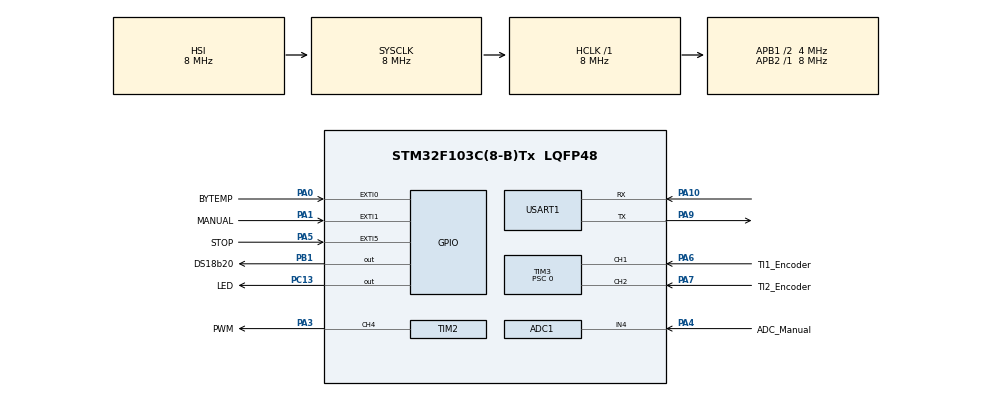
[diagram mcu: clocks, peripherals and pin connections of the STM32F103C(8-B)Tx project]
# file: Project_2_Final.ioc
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ADC1.Channel-0\#ChannelRegularConversion=ADC_CHANNEL_4
ADC1.ContinuousConvMode=ENABLE
ADC1.NbrOfConversionFlag=1
ADC1.Rank-0\#ChannelRegularConversion=1
ADC1.SamplingTime-0\#ChannelRegularConversion=ADC_SAMPLETIME_1CYCLE_5
ADC1.master=1
Mcu.Family=STM32F1
Mcu.Name=STM32F103C(8-B)Tx
Mcu.Package=LQFP48
NVIC.EXTI0_IRQn=true\:0\:0\:false\:false\:true\:true\:true\:true
NVIC.EXTI1_IRQn=true\:0\:0\:false\:false\:true\:true\:true\:true
NVIC.EXTI9_5_IRQn=true\:0\:0\:false\:false\:true\:true\:true\:true
NVIC.PriorityGroup=NVIC_PRIORITYGROUP_4
PA0-WKUP.GPIO_Label=BYTEMP
PA0-WKUP.GPIO_ModeDefaultEXTI=GPIO_MODE_IT_FALLING
PA0-WKUP.GPIO_PuPd=GPIO_PULLUP
PA0-WKUP.Signal=GPXTI0
PA1.GPIO_Label=MANUAL
PA1.GPIO_ModeDefaultEXTI=GPIO_MODE_IT_FALLING
PA1.GPIO_PuPd=GPIO_PULLUP
PA1.Signal=GPXTI1
PA10.Mode=Asynchronous
PA10.Signal=USART1_RX
PA13.Mode=Serial_Wire
PA13.Signal=SYS_JTMS-SWDIO
PA14.Mode=Serial_Wire
PA14.Signal=SYS_JTCK-SWCLK
PA3.GPIO_Label=PWM
PA3.Signal=S_TIM2_CH4
PA4.GPIO_Label=ADC_Manual
PA4.GPIO_Mode=GPIO_MODE_ANALOG
PA4.Signal=ADCx_IN4
PA5.GPIO_Label=STOP
PA5.GPIO_ModeDefaultEXTI=GPIO_MODE_IT_FALLING
PA5.GPIO_PuPd=GPIO_PULLUP
PA5.Signal=GPXTI5
PA6.GPIO_Label=TI1_Encoder
PA6.Signal=S_TIM3_CH1
PA7.GPIO_Label=TI2_Encoder
PA7.Signal=S_TIM3_CH2
PA9.Mode=Asynchronous
PA9.Signal=USART1_TX
PB1.GPIO_Label=DS18b20
PB1.Signal=GPIO_Output
PC13-TAMPER-RTC.GPIO_Label=LED
PC13-TAMPER-RTC.GPIO_ModeDefaultOutputPP=GPIO_MODE_OUTPUT_PP
PC13-TAMPER-RTC.Signal=GPIO_Output
PD0-OSC_IN.Mode=HSE-External-Oscillator
PD0-OSC_IN.Signal=RCC_OSC_IN
PD1-OSC_OUT.Mode=HSE-External-Oscillator
PD1-OSC_OUT.Signal=RCC_OSC_OUT
ProjectManager.HeapSize=0x200
ProjectManager.StackSize=0x400
ProjectManager.TargetToolchain=STM32CubeIDE
RCC.AHBFreq_Value=8000000
RCC.APB1CLKDivider=RCC_HCLK_DIV2
RCC.APB1Freq_Value=4000000
RCC.APB1TimFreq_Value=8000000
RCC.APB2Freq_Value=8000000
RCC.APB2TimFreq_Value=8000000
RCC.HCLKFreq_Value=8000000
RCC.PLLMUL=RCC_PLL_MUL9
RCC.PLLSourceVirtual=RCC_PLLSOURCE_HSE
RCC.SYSCLKFreq_VALUE=8000000
RCC.USBFreq_Value=72000000
SH.ADCx_IN4.0=ADC1_IN4,IN4
SH.S_TIM2_CH4.0=TIM2_CH4,PWM Generation4 CH4
SH.S_TIM3_CH1.0=TIM3_CH1,Encoder_Interface
SH.S_TIM3_CH2.0=TIM3_CH2,Encoder_Interface
TIM2.Channel-PWM\ Generation4\ CH4=TIM_CHANNEL_4
TIM2.Period=99
TIM2.Prescaler=9-1
TIM3.EncoderMode=TIM_ENCODERMODE_TI1
TIM3.IC1Polarity=TIM_ICPOLARITY_FALLING
TIM3.IC2Polarity=TIM_ICPOLARITY_FALLING
TIM3.Prescaler=0
TIM4.Prescaler=72-1
USART1.VirtualMode=VM_ASYNC
VP_TIM4_VS_ClockSourceINT.Mode=Internal
board=custom

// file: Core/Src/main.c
/* USER CODE BEGIN Header */
/**
  ******************************************************************************
  * @file           : main.c
  * @brief          : Main program body
  ******************************************************************************
  * @attention
  *
  * <h2><center>&copy; Copyright (c) 2022 STMicroelectronics.
  * All rights reserved.</center></h2>
  *
  * This software component is licensed by ST under BSD 3-Clause license,
  * the "License"; You may not use this file except in compliance with the
  * License. You may obtain a copy of the License at:
  *                        opensource.org/licenses/BSD-3-Clause
  *
  ******************************************************************************
  */
/* USER CODE END Header */
#include "main.h"

/* USER CODE BEGIN Includes */
#include <stdio.h>
#include "DS18B20.h"
#include "Motor.h"
#include "lcd_16x2.h"
/* USER CODE END Includes */

 ADC_HandleTypeDef hadc1;

TIM_HandleTypeDef htim2;
TIM_HandleTypeDef htim3;
TIM_HandleTypeDef htim4;

UART_HandleTypeDef huart1;

void SystemClock_Config(void);
static void MX_GPIO_Init(void);
static void MX_USART1_UART_Init(void);
static void MX_TIM2_Init(void);
static void MX_TIM3_Init(void);
static void MX_TIM4_Init(void);
static void MX_ADC1_Init(void);

/* USER CODE BEGIN 0 */

Motor_Name Motor = {
		.mode = MODE_MOTOR_NONE,
		.duty = DUTY_MIN
};
DS18B20_Name DS;
uint8_t 	temp = 0;
uint16_t 	speed = 0;
uint16_t 	manual = 0;
/* USER CODE END 0 */

int main(void)
{

  /* MCU Configuration--------------------------------------------------------*/

  /* Reset of all peripherals, Initializes the Flash interface and the Systick. */
  HAL_Init();

  /* Configure the system clock */
  SystemClock_Config();

  /* Initialize all configured peripherals */
  MX_GPIO_Init();
  MX_USART1_UART_Init();
  MX_TIM2_Init();
  MX_TIM3_Init();
  MX_TIM4_Init();
  MX_ADC1_Init();

  /* Infinite loop */
  /* USER CODE BEGIN WHILE */
  Lcd_Init();
  HAL_ADC_Start(&hadc1);
  DS18B20_Init(&DS, &htim4, DS18b20_GPIO_Port , DS18b20_Pin);
  Motor_Init_PWM(&Motor, &htim2, TIM_CHANNEL_4, 2000, Motor.duty);
  Motor_Init_Encoder(&Motor, &htim3, TIM_CHANNEL_1);
  Lcd_display_menu();

  while (1)
  {
    /* USER CODE END WHILE */

    /* USER CODE BEGIN 3 */
	  temp = (uint8_t)DS18B20_ReadTemp(&DS);
	  if(Motor.mode != MODE_MOTOR_NONE)
	  {
		  switch (Motor.mode)
		  {
			case MODE_MOTOR_TEMP:
				Motor.duty = Temp_to_Duty(temp);
				break;
			case MODE_MOTOR_MUNUAL:
				Motor.duty = Manual_to_Duty(&hadc1);
				break;
			case MODE_MOTOR_STOP:
				Motor.duty = DUTY_MIN;
			default:
				break;
		  }
		  Motor_Set_Duty(&Motor, Motor.duty);
		  HAL_Delay(200);
		  speed = Motor_Get_Speed(&Motor);
		  Lcd_display(temp, speed);

	  }

  }
  /* USER CODE END 3 */
}

void SystemClock_Config(void)
{
  RCC_OscInitTypeDef RCC_OscInitStruct = {0};
  RCC_ClkInitTypeDef RCC_ClkInitStruct = {0};
  RCC_PeriphCLKInitTypeDef PeriphClkInit = {0};

  /** Initializes the RCC Oscillators according to the specified parameters
  * in the RCC_OscInitTypeDef structure.
  */
  RCC_OscInitStruct.OscillatorType = RCC_OSCILLATORTYPE_HSI;
  RCC_OscInitStruct.HSIState = RCC_HSI_ON;
  RCC_OscInitStruct.HSICalibrationValue = RCC_HSICALIBRATION_DEFAULT;
  RCC_OscInitStruct.PLL.PLLState = RCC_PLL_NONE;
  if (HAL_RCC_OscConfig(&RCC_OscInitStruct) != HAL_OK)
  {
    Error_Handler();
  }

  /** Initializes the CPU, AHB and APB buses clocks
  */
  RCC_ClkInitStruct.ClockType = RCC_CLOCKTYPE_HCLK|RCC_CLOCKTYPE_SYSCLK
                              |RCC_CLOCKTYPE_PCLK1|RCC_CLOCKTYPE_PCLK2;
  RCC_ClkInitStruct.SYSCLKSource = RCC_SYSCLKSOURCE_HSI;
  RCC_ClkInitStruct.AHBCLKDivider = RCC_SYSCLK_DIV1;
  RCC_ClkInitStruct.APB1CLKDivider = RCC_HCLK_DIV2;
  RCC_ClkInitStruct.APB2CLKDivider = RCC_HCLK_DIV1;

  if (HAL_RCC_ClockConfig(&RCC_ClkInitStruct, FLASH_LATENCY_0) != HAL_OK)
  {
    Error_Handler();
  }
  PeriphClkInit.PeriphClockSelection = RCC_PERIPHCLK_ADC;
  PeriphClkInit.AdcClockSelection = RCC_ADCPCLK2_DIV2;
  if (HAL_RCCEx_PeriphCLKConfig(&PeriphClkInit) != HAL_OK)
  {
    Error_Handler();
  }
}

static void MX_ADC1_Init(void)
{

  ADC_ChannelConfTypeDef sConfig = {0};

  /** Common config
  */
  hadc1.Instance = ADC1;
  hadc1.Init.ScanConvMode = ADC_SCAN_DISABLE;
  hadc1.Init.ContinuousConvMode = ENABLE;
  hadc1.Init.DiscontinuousConvMode = DISABLE;
  hadc1.Init.ExternalTrigConv = ADC_SOFTWARE_START;
  hadc1.Init.DataAlign = ADC_DATAALIGN_RIGHT;
  hadc1.Init.NbrOfConversion = 1;
  if (HAL_ADC_Init(&hadc1) != HAL_OK)
  {
    Error_Handler();
  }

  /** Configure Regular Channel
  */
  sConfig.Channel = ADC_CHANNEL_4;
  sConfig.Rank = ADC_REGULAR_RANK_1;
  sConfig.SamplingTime = ADC_SAMPLETIME_1CYCLE_5;
  if (HAL_ADC_ConfigChannel(&hadc1, &sConfig) != HAL_OK)
  {
    Error_Handler();
  }

}

static void MX_TIM2_Init(void)
{

  TIM_MasterConfigTypeDef sMasterConfig = {0};
  TIM_OC_InitTypeDef sConfigOC = {0};

  htim2.Instance = TIM2;
  htim2.Init.Prescaler = 9-1;
  htim2.Init.CounterMode = TIM_COUNTERMODE_UP;
  htim2.Init.Period = 99;
  htim2.Init.ClockDivision = TIM_CLOCKDIVISION_DIV1;
  htim2.Init.AutoReloadPreload = TIM_AUTORELOAD_PRELOAD_DISABLE;
  if (HAL_TIM_PWM_Init(&htim2) != HAL_OK)
  {
    Error_Handler();
  }
  sMasterConfig.MasterOutputTrigger = TIM_TRGO_RESET;
  sMasterConfig.MasterSlaveMode = TIM_MASTERSLAVEMODE_DISABLE;
  if (HAL_TIMEx_MasterConfigSynchronization(&htim2, &sMasterConfig) != HAL_OK)
  {
    Error_Handler();
  }
  sConfigOC.OCMode = TIM_OCMODE_PWM1;
  sConfigOC.Pulse = 0;
  sConfigOC.OCPolarity = TIM_OCPOLARITY_HIGH;
  sConfigOC.OCFastMode = TIM_OCFAST_DISABLE;
  if (HAL_TIM_PWM_ConfigChannel(&htim2, &sConfigOC, TIM_CHANNEL_4) != HAL_OK)
  {
    Error_Handler();
  }
  HAL_TIM_MspPostInit(&htim2);

}

static void MX_TIM3_Init(void)
{

  TIM_Encoder_InitTypeDef sConfig = {0};
  TIM_MasterConfigTypeDef sMasterConfig = {0};

  htim3.Instance = TIM3;
  htim3.Init.Prescaler = 0;
  htim3.Init.CounterMode = TIM_COUNTERMODE_UP;
  htim3.Init.Period = 65535;
  htim3.Init.ClockDivision = TIM_CLOCKDIVISION_DIV1;
  htim3.Init.AutoReloadPreload = TIM_AUTORELOAD_PRELOAD_DISABLE;
  sConfig.EncoderMode = TIM_ENCODERMODE_TI1;
  sConfig.IC1Polarity = TIM_ICPOLARITY_FALLING;
  sConfig.IC1Selection = TIM_ICSELECTION_DIRECTTI;
  sConfig.IC1Prescaler = TIM_ICPSC_DIV1;
  sConfig.IC1Filter = 0;
  sConfig.IC2Polarity = TIM_ICPOLARITY_FALLING;
  sConfig.IC2Selection = TIM_ICSELECTION_DIRECTTI;
  sConfig.IC2Prescaler = TIM_ICPSC_DIV1;
  sConfig.IC2Filter = 0;
  if (HAL_TIM_Encoder_Init(&htim3, &sConfig) != HAL_OK)
  {
    Error_Handler();
  }
  sMasterConfig.MasterOutputTrigger = TIM_TRGO_RESET;
  sMasterConfig.MasterSlaveMode = TIM_MASTERSLAVEMODE_DISABLE;
  if (HAL_TIMEx_MasterConfigSynchronization(&htim3, &sMasterConfig) != HAL_OK)
  {
    Error_Handler();
  }

}

static void MX_TIM4_Init(void)
{

  TIM_ClockConfigTypeDef sClockSourceConfig = {0};
  TIM_MasterConfigTypeDef sMasterConfig = {0};

  htim4.Instance = TIM4;
  htim4.Init.Prescaler = 72-1;
  htim4.Init.CounterMode = TIM_COUNTERMODE_UP;
  htim4.Init.Period = 65535;
  htim4.Init.ClockDivision = TIM_CLOCKDIVISION_DIV1;
  htim4.Init.AutoReloadPreload = TIM_AUTORELOAD_PRELOAD_DISABLE;
  if (HAL_TIM_Base_Init(&htim4) != HAL_OK)
  {
    Error_Handler();
  }
  sClockSourceConfig.ClockSource = TIM_CLOCKSOURCE_INTERNAL;
  if (HAL_TIM_ConfigClockSource(&htim4, &sClockSourceConfig) != HAL_OK)
  {
    Error_Handler();
  }
  sMasterConfig.MasterOutputTrigger = TIM_TRGO_RESET;
  sMasterConfig.MasterSlaveMode = TIM_MASTERSLAVEMODE_DISABLE;
  if (HAL_TIMEx_MasterConfigSynchronization(&htim4, &sMasterConfig) != HAL_OK)
  {
    Error_Handler();
  }

}

static void MX_USART1_UART_Init(void)
{

  huart1.Instance = USART1;
  huart1.Init.BaudRate = 115200;
  huart1.Init.WordLength = UART_WORDLENGTH_8B;
  huart1.Init.StopBits = UART_STOPBITS_1;
  huart1.Init.Parity = UART_PARITY_NONE;
  huart1.Init.Mode = UART_MODE_TX_RX;
  huart1.Init.HwFlowCtl = UART_HWCONTROL_NONE;
  huart1.Init.OverSampling = UART_OVERSAMPLING_16;
  if (HAL_UART_Init(&huart1) != HAL_OK)
  {
    Error_Handler();
  }

}

static void MX_GPIO_Init(void)
{
  GPIO_InitTypeDef GPIO_InitStruct = {0};

  /* GPIO Ports Clock Enable */
  __HAL_RCC_GPIOC_CLK_ENABLE();
  __HAL_RCC_GPIOD_CLK_ENABLE();
  __HAL_RCC_GPIOA_CLK_ENABLE();
  __HAL_RCC_GPIOB_CLK_ENABLE();

  /*Configure GPIO pin Output Level */
  HAL_GPIO_WritePin(LED_GPIO_Port, LED_Pin, GPIO_PIN_RESET);

  /*Configure GPIO pin Output Level */
  HAL_GPIO_WritePin(DS18b20_GPIO_Port, DS18b20_Pin, GPIO_PIN_RESET);

  /*Configure GPIO pin : LED_Pin */
  GPIO_InitStruct.Pin = LED_Pin;
  GPIO_InitStruct.Mode = GPIO_MODE_OUTPUT_PP;
  GPIO_InitStruct.Pull = GPIO_NOPULL;
  GPIO_InitStruct.Speed = GPIO_SPEED_FREQ_LOW;
  HAL_GPIO_Init(LED_GPIO_Port, &GPIO_InitStruct);

  /*Configure GPIO pins : BYTEMP_Pin MANUAL_Pin STOP_Pin */
  GPIO_InitStruct.Pin = BYTEMP_Pin|MANUAL_Pin|STOP_Pin;
  GPIO_InitStruct.Mode = GPIO_MODE_IT_FALLING;
  GPIO_InitStruct.Pull = GPIO_PULLUP;
  HAL_GPIO_Init(GPIOA, &GPIO_InitStruct);

  /*Configure GPIO pin : DS18b20_Pin */
  GPIO_InitStruct.Pin = DS18b20_Pin;
  GPIO_InitStruct.Mode = GPIO_MODE_OUTPUT_PP;
  GPIO_InitStruct.Pull = GPIO_NOPULL;
  GPIO_InitStruct.Speed = GPIO_SPEED_FREQ_LOW;
  HAL_GPIO_Init(DS18b20_GPIO_Port, &GPIO_InitStruct);

  /* EXTI interrupt init*/
  HAL_NVIC_SetPriority(EXTI0_IRQn, 0, 0);
  HAL_NVIC_EnableIRQ(EXTI0_IRQn);

  HAL_NVIC_SetPriority(EXTI1_IRQn, 0, 0);
  HAL_NVIC_EnableIRQ(EXTI1_IRQn);

  HAL_NVIC_SetPriority(EXTI9_5_IRQn, 0, 0);
  HAL_NVIC_EnableIRQ(EXTI9_5_IRQn);

}

/* USER CODE BEGIN 4 */

void HAL_GPIO_EXTI_Callback(uint16_t GPIO_Pin)
{
  /* Prevent unused argument(s) compilation warning */
  UNUSED(GPIO_Pin);
  HAL_GPIO_TogglePin(LED_GPIO_Port, LED_Pin);
  switch (GPIO_Pin) {
	case BYTEMP_Pin:
		Motor.mode = MODE_MOTOR_TEMP;
		break;
	case MANUAL_Pin:
		Motor.mode = MODE_MOTOR_MUNUAL;
		break;
	case STOP_Pin:
		Motor.mode = MODE_MOTOR_STOP;
		break;
	default:
		break;
}
  /* NOTE: This function Should not be modified, when the callback is needed,
           the HAL_GPIO_EXTI_Callback could be implemented in the user file
   */
}

int __io_putchar(int ch) {

	HAL_UART_Transmit(&huart1,(uint8_t *)&ch, 1, 500);

	return ch;
}

/* USER CODE END 4 */

void Error_Handler(void)
{
  __disable_irq();
  while (1)
  {
  }
}
